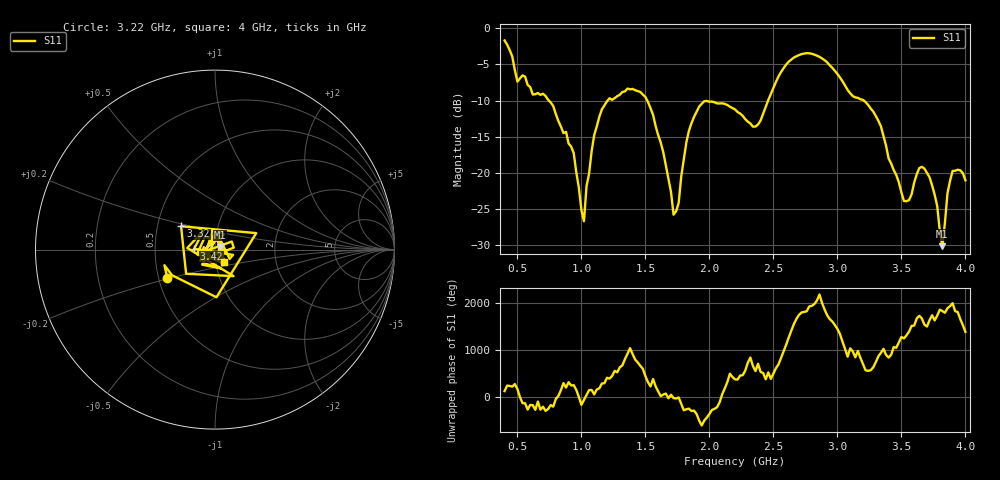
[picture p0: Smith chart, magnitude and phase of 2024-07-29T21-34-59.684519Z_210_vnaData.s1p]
!Created with skrf (http://scikit-rf.org).
# Hz S RI R 50.0
!freq ReS11 ImS11
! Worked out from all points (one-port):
!   181 points, 400 MHz to 4 GHz, reference 50 ohm
!   lowest |S11| = -30.1 dB at 3.82 GHz (marker M1), VSWR 1.06, Z = 52.8 + j1.56 ohm
!   |S11| at or under -10 dB: 746 MHz to 1.204 GHz (458.4 MHz wide, 47 % of centre); 1.515 GHz to 2.458 GHz (943.8 MHz wide, 47.5 % of centre); 3.207 GHz to end of sweep
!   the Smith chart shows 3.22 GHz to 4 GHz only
!   S11 on the Smith chart (normalised r, x): 3.22 GHz: 0.56, -0.19; 3.32 GHz: 0.66, +0.18; 3.42 GHz: 0.79, +0.01; 4 GHz: 1.10, -0.16
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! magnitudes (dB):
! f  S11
! 400 MHz  -1.7
! 500 MHz  -7.4
! 720 MHz  -9.4
! 860 MHz  -14.5
! 940 MHz  -17.3
! 1.02 GHz  -26.7
! 1.08 GHz  -17.0
! 1.14 GHz  -12.2
! 1.3 GHz  -9.2
! 1.5 GHz  -9.5
! 1.64 GHz  -17.2
! 1.72 GHz  -25.8
! 1.76 GHz  -24.1
! 1.82 GHz  -15.8
! 1.92 GHz  -10.8
! 2.2 GHz  -11.2
! 2.38 GHz  -13.3
! 2.66 GHz  -4.1
! 3.1 GHz  -9.0
! 3.22 GHz  -10.2
! 3.32 GHz  -12.8
! 3.42 GHz  -18.7
! 3.56 GHz  -23.7
! 3.68 GHz  -19.4
! 3.76 GHz  -23.0
! 3.82 GHz  -30.1
! 3.9 GHz  -19.7
! 4 GHz  -21.0
